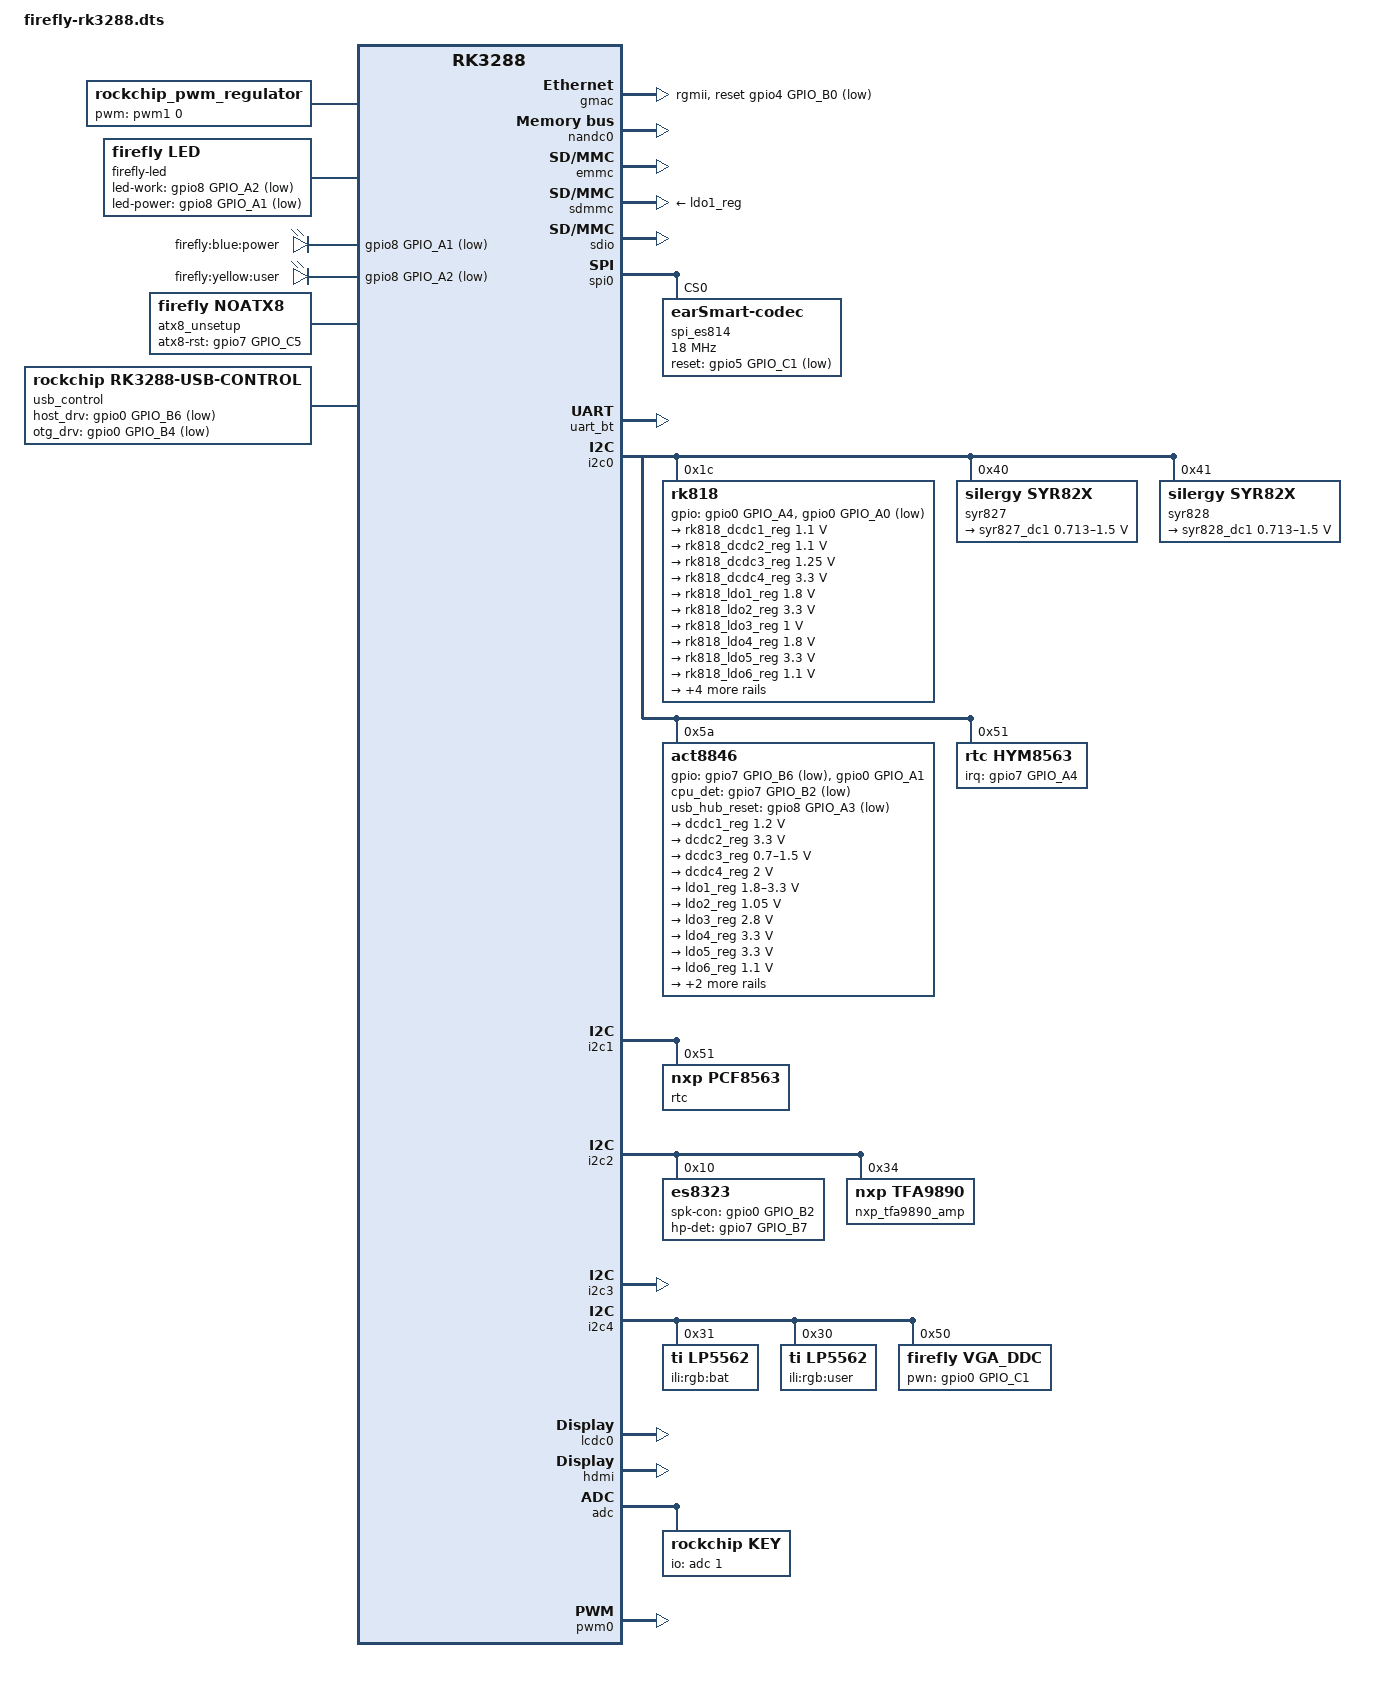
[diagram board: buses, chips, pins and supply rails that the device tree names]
/dts-v1/;

#include "rk3288.dtsi"
#include "lcd-box.dtsi"

/ {
	fiq-debugger {
		status = "okay";
	};

	hsic-usb-hub{
		compatible = "hub_reset";
		reset,pin =<&gpio7 GPIO_A6 GPIO_ACTIVE_HIGH>;	// hub reset pin
		status = "disabled";
	};
#if 0
/*fxn: remove*/

	wireless-wlan {
		compatible = "wlan-platdata";

		/* wifi_chip_type - wifi chip define
		* bcmwifi ==> like ap6xxx, rk90x;
		* rtkwifi ==> like rtl8188xx, rtl8723xx,rtl8812auv;
		* esp8089 ==> esp8089;
		* other   ==> for other wifi;
		*/
		wifi_chip_type = "bcmwifi";
		sdio_vref = <1800>; //1800mv or 3300mv

		//keep_wifi_power_on;
		//power_ctrl_by_pmu;
		power_pmu_regulator = "act_ldo3";
		power_pmu_enable_level = <1>; //1->HIGH, 0->LOW

		//vref_ctrl_enable;
		//vref_ctrl_gpio = <&gpio0 GPIO_A2 GPIO_ACTIVE_HIGH>;
		vref_pmu_regulator = "act_ldo3";
		vref_pmu_enable_level = <1>; //1->HIGH, 0->LOW

		WIFI,poweren_gpio = <&gpio4 GPIO_D4 GPIO_ACTIVE_HIGH>;
		WIFI,host_wake_irq = <&gpio4 GPIO_D6 GPIO_ACTIVE_HIGH>;
		//WIFI,reset_gpio = <&gpio0 GPIO_A2 GPIO_ACTIVE_LOW>;

		status = "okay";
    	};

    	wireless-bluetooth {
		compatible = "bluetooth-platdata";

		//wifi-bt-power-toggle;

		uart_rts_gpios = <&gpio4 GPIO_C3 GPIO_ACTIVE_LOW>;
		pinctrl-names = "default","rts_gpio";
		pinctrl-0 = <&uart0_rts>;
		pinctrl-1 = <&uart0_rts_gpio>;

		BT,power_gpio = <&gpio4 GPIO_D3 GPIO_ACTIVE_HIGH>;
		BT,reset_gpio = <&gpio4 GPIO_D5 GPIO_ACTIVE_HIGH>;
		BT,wake_gpio = <&gpio4 GPIO_D2 GPIO_ACTIVE_HIGH>;
		BT,wake_host_irq = <&gpio4 GPIO_D7 GPIO_ACTIVE_LOW>;

		status = "okay";
    	};
#endif
	pwm_regulator {
		compatible = "rockchip_pwm_regulator";
		pwms = <&pwm1 0 2000>;
		rockchip,pwm_id= <1>;
		rockchip,pwm_voltage_map= <925000 950000 975000 1000000 1025000 1050000 1075000 1100000 1125000 1150000 1175000 1200000 1225000 1250000 1275000 1300000 1325000 1350000 1375000 1400000>;
		rockchip,pwm_voltage= <1100000>;
		rockchip,pwm_min_voltage= <925000>;
		rockchip,pwm_max_voltage= <1400000>;
		rockchip,pwm_suspend_voltage= <950000>;
		rockchip,pwm_coefficient= <475>;
		regulators {
			#address-cells = <1>;
			#size-cells = <0>;
			pwm_reg0: regulator@0 {
				regulator-compatible = "pwm_dcdc1";
				regulator-name= "vdd_logic";
				regulator-min-microvolt = <925000>;
				regulator-max-microvolt = <1400000>;
				regulator-always-on;
				regulator-boot-on;
			};
		};
	};

/*fxn, to be fixed, add two i2s controllers and link to tfa9890 and es814 codec*/
	nxp-tfa9890-i2s {
		compatible = "nxp-tfa9890-i2s";
		dais {
			dai0 {
				audio-codec = <&nxp_tfa9890_amp>;
				i2s-controller = <&i2s>;
				format = "i2s";
			};
		};
	};

	knowles-es814-i2s {
		compatible = "knowles-es814-i2s";
		dais {
			dai0 {
				audio-codec = <&spi_es814>;
				i2s-controller = <&i2s>;
				format = "i2s";
			};
		};
	};

#if 0
/*fxn, remove*/
	codec_hdmi_i2s: codec-hdmi-i2s {
		compatible = "hdmi-i2s";
	};

	codec_hdmi_spdif: codec-hdmi-spdif {
		compatible = "hdmi-spdif";
	};


	rockchip-hdmi-i2s {
		compatible = "rockchip-hdmi-i2s";
		dais {
			dai0 {
				audio-codec = <&codec_hdmi_i2s>;
				i2s-controller = <&i2s>;
				format = "i2s";
				//continuous-clock;
				//bitclock-inversion;
				//frame-inversion;
				//bitclock-master;
				//frame-master;
			};
		};
	};

	rockchip-hdmi-spdif {
		compatible = "rockchip-hdmi-spdif";
		dais {
			dai0 {
				audio-codec = <&codec_hdmi_spdif>;
				i2s-controller = <&spdif>;
			};
		};
	};
#endif

#if 0
/*fxn, remove*/
	rockchip-rk1000 {
		compatible = "rockchip-rk1000";
		dais {
			dai0 {
				audio-codec = <&rk1000_codec>;
				i2s-controller = <&i2s>;
				format = "i2s";
				//continuous-clock;
				//bitclock-inversion;
				//frame-inversion;
				//bitclock-master;
				//frame-master;
			};
		};
	};
#endif
	rockchip-es8323 {
		compatible = "rockchip-es8323";
		dais {
			dai0 {
				audio-codec = <&es8323>;
				i2s-controller = <&i2s>;
				format = "i2s";
				//continuous-clock;
				//bitclock-inversion;
				//frame-inversion;
				//bitclock-master;
				//frame-master;
			};
		};
	};

#if 0
/*fxn, remove*/
	rkxx-remotectl{
		compatible = "rockchip,remotectl";
                module-gpios = <&gpio7 GPIO_A0 GPIO_ACTIVE_LOW>;
        	led-power = <&gpio8 GPIO_A1 GPIO_ACTIVE_LOW>;
		status = "disabled";
	};
#endif
	
	firefly-led{
		compatible = "firefly,led";
		led-work = <&gpio8 GPIO_A2 GPIO_ACTIVE_LOW>;
		led-power = <&gpio8 GPIO_A1 GPIO_ACTIVE_LOW>;
		status = "okay";
	};

 	leds {
       		compatible = "gpio-leds";
       		power {
           		label = "firefly:blue:power";
           		linux,default-trigger = "ir-power-click";
           		default-state = "on";
           		gpios = <&gpio8 GPIO_A1 GPIO_ACTIVE_LOW>;
       		};  
        	user {
           		label = "firefly:yellow:user";
           		linux,default-trigger = "ir-user-click";
			default-state = "off";
           		gpios = <&gpio8 GPIO_A2 GPIO_ACTIVE_LOW>;
       		};  
   	}; 
	atx8_unsetup{
		compatible = "firefly,noatx8";
		atx8-rst = <&gpio7 GPIO_C5 GPIO_ACTIVE_HIGH>;
		status = "okay";
	};
	usb_control {
		compatible = "rockchip,rk3288-usb-control";

		host_drv_gpio = <&gpio0 GPIO_B6 GPIO_ACTIVE_LOW>;
		otg_drv_gpio = <&gpio0 GPIO_B4 GPIO_ACTIVE_LOW>;

		rockchip,remote_wakeup;
		rockchip,usb_irq_wakeup;
	};
};

&gmac {
//	pmu_regulator = "act_ldo5";
//	pmu_enable_level = <1>; //1->HIGH, 0->LOW
//	power-gpio = <&gpio0 GPIO_A6 GPIO_ACTIVE_HIGH>;
	reset-gpio = <&gpio4 GPIO_B0 GPIO_ACTIVE_LOW>;
	phy-mode = "rgmii";
	clock_in_out = "input";
	tx_delay = <0x30>;
	rx_delay = <0x20>;
};

&pinctrl {
	//used for init some gpio
/*fxn, modified{*/
//	init-gpios = <&gpio8 GPIO_A0 GPIO_ACTIVE_HIGH
//		&gpio7 GPIO_B1 GPIO_ACTIVE_HIGH		
//		&gpio4 GPIO_B0 GPIO_ACTIVE_HIGH>;
	/*
		gpio6-a6 : RK_I2S_EN, gpio6-a7 : RK_I2S_SW
	*/
	init-gpios = <&gpio6 GPIO_A6 GPIO_ACTIVE_HIGH &gpio6 GPIO_A7 GPIO_ACTIVE_HIGH>;
/*fxn, end}*/
	gpio0_gpio {
			gpio0_c2: gpio0-c2 {
				rockchip,pins = <GPIO0_C2>;
				rockchip,pull = <VALUE_PULL_DOWN>;
			};

			//to add
		};
		
	gpio7_gpio {
			gpio7_b7: gpio7-b7 {
				rockchip,pins = <GPIO7_B7>;
				rockchip,pull = <VALUE_PULL_UP>;
			};

			//to add
		};
	//could add other pinctrl definition such as gpio

	// gmac drive strength
	gpio4_gmac {
		mac_clk: mac-clk {
			rockchip,drive = <VALUE_DRV_12MA>;
		};

		mac_txpins: mac-txpins {
			rockchip,drive = <VALUE_DRV_12MA>;
		};

		mac_rxpins: mac-rxpins {
			rockchip,drive = <VALUE_DRV_12MA>;
		};

		mac_crs: mac-crs {
			rockchip,drive = <VALUE_DRV_12MA>;
		};

		mac_mdpins: mac-mdpins {
			rockchip,drive = <VALUE_DRV_12MA>;
		};
	};
};
&nandc0 {
	status = "okay"; // used nand set "okay" ,used emmc set "disabled"
};
&nandc1 {
	status = "disabled"; // used nand set "okay" ,used emmc set "disabled"
};   

&nandc0reg {
	status = "disabled"; // used nand set "okay" ,used emmc set "disabled"
};
&emmc {
	clock-frequency = <100000000>;
	clock-freq-min-max = <400000 100000000>;

        supports-highspeed;
	supports-emmc;
        bootpart-no-access;

	//supports-tSD;//only tsd-sdcard mode 
	supports-DDR_MODE;
	caps2-mmc-hs200;

        ignore-pm-notify;
	keep-power-in-suspend;
	//poll-hw-reset 
	status = "okay";
};
    
&sdmmc {
		clock-frequency = <50000000>;
		lock-freq-min-max = <400000 50000000>;
		supports-highspeed;
		supports-sd;
		broken-cd;
		card-detect-delay = <200>;

		ignore-pm-notify;
        	keep-power-in-suspend;
	
        	vmmc-supply = <&ldo1_reg>;
		status = "okay";
};
		
&sdio {
		clock-frequency = <50000000>;
		clock-freq-min-max = <200000 50000000>;
		supports-highspeed;
		supports-sdio;
		ignore-pm-notify;
		keep-power-in-suspend;
		//cap-sdio-irq;
		status = "okay";
};

&spi0 {
	status = "okay";
	max-freq = <48000000>;	

/*fxn, add for Knowles ES814 codec*/
	spi_es814: spi_es814@00 {
		compatible = "earSmart-codec";
		reg = <0>;
		spi-max-frequency = <18000000>;
		adnc,reset-gpio = <&gpio5 GPIO_C1 GPIO_ACTIVE_LOW>;
		adnc,spi-fw-download-speed = <12000000>;
		adnc,spi-operational-speed = <4000000>;
	};

	/*
	spi_test@00 {
     		compatible = "rockchip,spi_test_bus0_cs0";
                reg = <0>;
                spi-max-frequency = <24000000>;
                //spi-cpha;
		//spi-cpol;
                poll_mode = <0>;
	        type = <0>;
		enable_dma = <0>;

	};

	spi_test@01 {
	        compatible = "rockchip,spi_test_bus0_cs1";
	        reg = <1>;
	        spi-max-frequency = <24000000>;
	        spi-cpha;
		spi-cpol;
	        poll_mode = <0>;
	        type = <0>;
		enable_dma = <0>;	        
	};
	*/
};

&spi1 {
	status = "disabled";
	max-freq = <48000000>;
	/*
	spi_test@10 {
	        compatible = "rockchip,spi_test_bus1_cs0";
	        reg = <0>;
	        spi-max-frequency = <24000000>;
	        //spi-cpha;
		//spi-cpol;
	        poll_mode = <0>;
	        type = <0>;
		enable_dma = <0>;
	};

	*/
	//dtv: connect to dtv demodulator for control signal
	tstv-ctrl@00 {
		compatible = "rockchip,dtv_spi_ctrl";
		gpio-powerup = <&gpio0 GPIO_D7 GPIO_ACTIVE_HIGH>;
		gpio-powerdown = <&gpio2 GPIO_B6 GPIO_ACTIVE_HIGH>;
		gpio-reset = <&gpio2 GPIO_B7 GPIO_ACTIVE_HIGH>;
	        gpio-nreset = <&gpio2 GPIO_B4 GPIO_ACTIVE_HIGH>;
		spi-max-frequency = <12000000>;
		reg = <0>;
                poll_mode = <0>;
	        type = <0>;
		enable_dma = <0>;
	};

};

&spi2 {
	status = "disabled";
	max-freq = <48000000>;
	/*
	spi_test@20 {
	        compatible = "rockchip,spi_test_bus2_cs0";
	        reg = <0>;
	        spi-max-frequency = <24000000>;
	        //spi-cpha;
		//spi-cpol;
	        poll_mode = <0>;
	        type = <0>;
		enable_dma = <0>;
	};

	spi_test@21 {
	        compatible = "rockchip,spi_test_bus2_cs1";
	        reg = <1>;
	        spi-max-frequency = <24000000>;
	        //spi-cpha;
		//spi-cpol;
	        poll_mode = <0>;
	        type = <0>;
		enable_dma = <0>;
	};
	*/
};

&hsadc {
	status = "disabled";
};

&uart_bt {
        status = "okay";
        dma-names = "!tx", "!rx";
        pinctrl-0 = <&uart0_xfer &uart0_cts>;
};

&uart_dbg {
	status = "disabled";
};


&i2c0 {
	status = "okay";
/*fxn, change to rk818*/
#if 0
	rk808: rk808@1b {
		reg = <0x1b>;
		status = "okay";
	};
#endif
	rk818: rk818@1c {
		reg = <0x1c>;
		status = "okay";
 	};

		syr827: syr827@40 {
		compatible = "silergy,syr82x";
  	reg = <0x40>;
		status = "okay";
		regulators {
			#address-cells = <1>;
			#size-cells = <0>;	
			syr827_dc1: regulator@0 {
			reg = <0>;
			regulator-compatible = "syr82x_dcdc1";
			regulator-name = "vdd_arm";
			regulator-min-microvolt = <712500>;
			regulator-max-microvolt = <1500000>;
			regulator-always-on;
			regulator-boot-on;
			regulator-initial-mode = <0x2>;
			regulator-initial-state = <3>;
			regulator-state-mem {
				regulator-state-mode = <0x2>;
				regulator-state-enabled;
				regulator-state-uv = <900000>;
			};
		};
	   };
	};
	syr828: syr828@41 {
		compatible = "silergy,syr82x";
		reg = <0x41>;
		status = "okay";
		regulators {
			#address-cells = <1>;
			#size-cells = <0>;	
			syr828_dc1: regulator@0 {
			reg = <0>;
			regulator-compatible = "syr82x_dcdc1";
			regulator-name = "vdd_gpu";
			regulator-min-microvolt = <712500>;
			regulator-max-microvolt = <1500000>;
			regulator-always-on;
  		regulator-boot-on;
			regulator-initial-mode = <0x2>;
			regulator-initial-state = <3>;
			regulator-state-mem {
				regulator-state-mode = <0x2>;
				regulator-state-disabled;
				regulator-state-uv = <900000>;
			};	
		};
	   };
	};
	act8846: act8846@5a {
		reg = <0x5a>;
		status = "okay";
	};
	
	rtc@51 {
		compatible = "rtc,hym8563";
		reg = <0x51>;
		irq_gpio = <&gpio7 GPIO_A4 IRQ_TYPE_EDGE_FALLING>;
	};
};

&i2c1 {
	status = "okay";
	rtc@51 {
		compatible = "nxp,pcf8563";
		reg = <0x51>;
	};
};

&i2c2 {
	status = "okay";
	es8323: es8323@10 {
	    compatible = "es8323";
		reg = <0x10>;
		spk-con-gpio = <&gpio0 GPIO_B2 GPIO_ACTIVE_HIGH>;
		hp-det-gpio = <&gpio7 GPIO_B7 GPIO_ACTIVE_HIGH>;
		hp-mic-only = <1>;
		clocks = <&clk_i2s>, <&clk_i2s_out>;
		clock-names = "i2s_clk","i2s_mclk";
		pinctrl-names = "default";
		pinctrl-0 = <&i2s_mclk>;
	};
/*fxn, add, TI tfa9890*/
	nxp_tfa9890_amp: nxp_tfa9890_amp@34 {
		compatible = "nxp,tfa9890";
		reg = <0x34>;
	};
};

&i2c3 {
	status = "okay";
};

&i2c4 {
	status = "okay";

/*fxn, add, lp5562 led*/
	bat_led@31 {
		compatible = "ti,lp5562";
		reg = <0x31>;
		label = "ili:rgb:bat";
		clock-mode = /bits/8 <2>;
		chan0 {
			chan-name = "R";
			led-cur = /bits/ 8 <0x20>;
			max-cur = /bits/ 8 <0x60>;
			linux,default-trigger = "BATTERY-charging";
		};

		chan1 {
			chan-name = "G";
			led-cur = /bits/ 8 <0x20>;
			max-cur = /bits/ 8 <0x60>;
			linux,default-trigger = "BATTERY-full";
		};
#if 0
		chan2 {
			chan-name = "B";
			led-cur = /bits/ 8 <0x20>;
			max-cur = /bits/ 8 <0x60>;
		};

		chan3 {
			chan-name = "W";
			led-cur = /bits/ 8 <0x20>;
			max-cur = /bits/ 8 <0x60>;
		};
#endif
	};

	user_led@30 {
		compatible = "ti,lp5562";
		reg = <0x30>;
		label = "ili:rgb:user";
		clock-mode = /bits/8 <2>;
		chan0 {
			chan-name = "R";
			led-cur = /bits/ 8 <0x20>;
			max-cur = /bits/ 8 <0x60>;
		};

		chan1 {
			chan-name = "G";
			led-cur = /bits/ 8 <0x20>;
			max-cur = /bits/ 8 <0x60>;
		};

		chan2 {
			chan-name = "B";
			led-cur = /bits/ 8 <0x20>;
			max-cur = /bits/ 8 <0x60>;
		};
#if 0
		chan3 {
			chan-name = "W";
			led-cur = /bits/ 8 <0x20>;
			max-cur = /bits/ 8 <0x60>;
		};
#endif
	};

#if 0
/*fxn, remove*/
	rk1000_control@40 {
		compatible = "rockchip,rk1000_control";
		reg = <0x40>;
		gpio-reset = <&gpio7 GPIO_C5 GPIO_ACTIVE_LOW>;
		clocks = <&clk_i2s>, <&clk_i2s_out>;
		clock-names = "i2s_clk","i2s_mclk";
		//pinctrl-names = "default";
		//pinctrl-0 = <&i2s_mclk>;
	};
	rk1000_tve@42 {
		compatible = "rockchip,rk1000_tve";
		reg = <0x42>;
//		gpio-switch = <&gpio3 GPIO_D4 GPIO_ACTIVE_LOW>;
		rockchip,source = <0>; //0: LCDC0; 1: LCDC1
		rockchip,prop = <PRMRY>;//<EXTEND>
	};
	rk1000_codec: rk1000_codec@60 {
		compatible = "rockchip,rk1000_codec";
		reg = <0x60>;
		spk_ctl_io = <&gpio7 GPIO_A5 GPIO_ACTIVE_LOW>;
		boot_depop = <1>;
		pa_enable_time = <5000>;
	};
#endif
	vga_ddc@50 {
		compatible = "firefly,vga_ddc";
		reg = <0x50>;
		gpio-pwn = <&gpio0 GPIO_C1 GPIO_ACTIVE_HIGH>;
		rockchip,source = <0>; //0: LCDC0; 1: LCDC1
		rockchip,prop = <PRMRY>;//<EXTEND>
		status = "okay";
	};
};

&i2c5 {
	status = "disabled";
};

/*$_rbox_$_modify_$_begin_huangzhibao for rk1000*/
//&i2s{
//    pinctrl-names = "default", "sleep";
//		pinctrl-0 = <&i2s_sclk &i2s_lrckrx &i2s_lrcktx &i2s_sdi &i2s_sdo0 &i2s_sdo1 &i2s_sdo2 &i2s_sdo3>;
//		pinctrl-1 = <&i2s_gpio>;
//};
/*$_rbox_$_modify_$_end*/

&fb {
	rockchip,disp-mode = <DUAL>;
};

&rk_screen {
	 display-timings = <&disp_timings>;
};

/*lcdc0 as PRMRY(HDMI),lcdc1 as EXTEND(RK1000)*/
&lcdc0 {
	status = "okay";
	rockchip,prop = <PRMRY>;
};

&lcdc1 {
	status = "disabled";
	rockchip,prop = <EXTEND>;
};

&hdmi {
	status = "okay";
	rockchips,hdmi_audio_source = <0>;
	hdmi_cec = <0>;
};

&adc {
	status = "okay";

	key {
		compatible = "rockchip,key";
		
		io-channels = <&adc 1>;

/*fxn, to be fixed*/
		main-key {
			gpios = <&gpio0 GPIO_A6 GPIO_ACTIVE_LOW>;
			linux,code = <167>;
			label = "record";
		};

		vol-up-key {
			linux,code = <115>;
			label = "volume up";
			rockchip,adc_value = <1>;
		};

		vol-down-key {
			linux,code = <114>;
			label = "volume down";
			rockchip,adc_value = <170>;
		};

#if 0
		power-key {
			gpios = <&gpio0 GPIO_A5 GPIO_ACTIVE_LOW>;
			linux,code = <116>;
			label = "power";
			gpio-key,wakeup;
		};
		recovery-key {
			linux,code = <113>;
			label = "recovery";
			rockchip,adc_value = <4>;
		};
#endif
	};
};

&pwm0 {
        interrupts = <GIC_SPI 78 IRQ_TYPE_LEVEL_HIGH>;
        status = "okay";
};

&pwm1 {
	status = "disabled";
};


&clk_core_dvfs_table {
	support-pvtm = <0>;
	pvtm-operating-points = <
		/* KHz    uV 	pvtm margin*/
		126000 900000	25000
		216000 900000	25000
		312000 900000	25000
		408000 900000	25000
		600000 950000	50000
		696000 950000	25000
		816000 1000000	25000
		1008000 1050000	25000
		1200000 1100000	25000
		1416000 1200000	25000
		1512000 1300000	25000
		1608000 1350000	25000
		1704000 1350000	25000
		1800000 1350000	25000
		>;
	status="okay";
};

&clk_gpu_dvfs_table {
	operating-points = <
		/* KHz    uV */
//		100000 900000
		200000 900000
		300000 950000
		420000 1100000
		500000 1150000
	//	600000 1250000
		>;
	status="okay";
};

&clk_ddr_dvfs_table {
	operating-points = <
		/* KHz    uV */
		200000 1075000
		300000 1075000		
		456000 1125000
		533000 1150000
		>;

	freq-table = <
		/*status		freq(KHz)*/
		SYS_STATUS_NORMAL	456000
		SYS_STATUS_SUSPEND	200000
		//SYS_STATUS_VIDEO_1080P  240000
		SYS_STATUS_VIDEO_4K     456000
		SYS_STATUS_PERFORMANCE  533000
		//SYS_STATUS_BOOST	324000
		//SYS_STATUS_ISP		400000
		>;
	auto-freq-table = <
		240000
		324000
		456000
		528000
		>;
	auto-freq=<0>;
	status="okay";
};
/include/ "act8846.dtsi"
&act8846 {
	gpios =<&gpio7 GPIO_B6 GPIO_ACTIVE_LOW>,<&gpio0 GPIO_A1 GPIO_ACTIVE_HIGH>;
	cpu_det_gpio =<&gpio7 GPIO_B2 GPIO_ACTIVE_LOW>;
	usb_hub_reset_gpio =<&gpio8 GPIO_A3 GPIO_ACTIVE_LOW>;
	act8846,system-power-controller;

	regulators {
		
		dcdc1_reg: regulator@0{
			regulator-name= "act_dcdc1";
			regulator-min-microvolt = <1200000>;
			regulator-max-microvolt = <1200000>;
			regulator-always-on;
			regulator-boot-on;
		};

		dcdc2_reg: regulator@1 {
			regulator-name= "vccio";
			regulator-min-microvolt = <3300000>;
			regulator-max-microvolt = <3300000>;
			regulator-initial-state = <3>;
			regulator-state-mem {
				regulator-state-enabled;
				regulator-state-uv = <3300000>;
			};		
		};

		dcdc3_reg: regulator@2 {
			regulator-name= "vdd_logic";
			regulator-min-microvolt = <700000>;
			regulator-max-microvolt = <1500000>;
			regulator-initial-state = <3>;
			regulator-state-mem {
				regulator-state-enabled;
				regulator-state-uv = <1200000>;
			};		
		
		};

		dcdc4_reg: regulator@3 {
			regulator-name= "act_dcdc4";
			regulator-min-microvolt = <2000000>;
			regulator-max-microvolt = <2000000>;
				regulator-initial-state = <3>;
			regulator-state-mem {
				regulator-state-enabled;
				regulator-state-uv = <2000000>;
			};
		};

		ldo1_reg: regulator@4 {
			regulator-name= "vccio_sd";
			regulator-min-microvolt = <1800000>;
			regulator-max-microvolt = <3300000>;
			
		};

		ldo2_reg: regulator@5 {
			regulator-name= "act_ldo2";
			regulator-min-microvolt = <1050000>;
			regulator-max-microvolt = <1050000>;
		
		};

		ldo3_reg: regulator@6 {
			regulator-name= "act_ldo3";
			regulator-min-microvolt = <2800000>;
			regulator-max-microvolt = <2800000>;
			
		};

		ldo4_reg:regulator@7 {
			regulator-name= "act_ldo4";
			regulator-min-microvolt = <3300000>;
			regulator-max-microvolt = <3300000>;
		
		};

		ldo5_reg: regulator@8 {
			regulator-name= "act_ldo5";
			regulator-min-microvolt = <3300000>;
			regulator-max-microvolt = <3300000>;
		
		};

		ldo6_reg: regulator@9 {
			regulator-name= "act_ldo6";
			regulator-min-microvolt = <1100000>;
			regulator-max-microvolt = <1100000>;
			regulator-initial-state = <3>;
			regulator-state-mem {
				regulator-state-enabled;
			};
			
		};

		ldo7_reg: regulator@10 {
			regulator-name= "vcc_18";
			regulator-min-microvolt = <1800000>;
			regulator-max-microvolt = <1800000>;
			regulator-initial-state = <3>;
			regulator-state-mem {
				regulator-state-enabled;
			};
		
		};

		ldo8_reg: regulator@11 {
			regulator-name= "act_ldo8";
			regulator-min-microvolt = <1850000>;
			regulator-max-microvolt = <1850000>;
		
		};
	};
};

#if 0
/include/ "rk808.dtsi"
&rk808 {
	gpios =<&gpio0 GPIO_A4 GPIO_ACTIVE_HIGH>,<&gpio0 GPIO_B3 GPIO_ACTIVE_LOW>;
	rk808,system-power-controller;

	regulators {
		
		rk808_dcdc1_reg: regulator@0{
			regulator-name= "vdd_arm";
			regulator-always-on;
			regulator-boot-on;
		};

		rk808_dcdc2_reg: regulator@1 {
			regulator-name= "vdd_gpu";
			regulator-always-on;
			regulator-boot-on;
		};

		rk808_dcdc3_reg: regulator@2 {
			regulator-name= "rk_dcdc3";
			regulator-min-microvolt = <1200000>;
			regulator-max-microvolt = <1200000>;
			regulator-always-on;
			regulator-boot-on;
		};

		rk808_dcdc4_reg: regulator@3 {
			regulator-name= "vccio";
			regulator-min-microvolt = <1800000>;
			regulator-max-microvolt = <3300000>;
			regulator-always-on;
			regulator-boot-on;
		};

    /* NO USED, 3.3V*/
		rk808_ldo1_reg: regulator@4 {
			regulator-name= "rk_ldo1";
			regulator-min-microvolt = <3300000>;
			regulator-max-microvolt = <3300000>;
			regulator-always-on;
			regulator-boot-on;
		};

    /* BOX:RK1000s, 3.3V  */
		rk808_ldo2_reg: regulator@5 {
			regulator-name= "rk_ldo2";
			regulator-min-microvolt = <3300000>;
			regulator-max-microvolt = <3300000>;
			regulator-always-on;
			regulator-boot-on;
		};

    /* RK3288 PLL,USB PHY, 1.0V */
		rk808_ldo3_reg: regulator@6 {
			regulator-name= "rk_ldo3";
			regulator-min-microvolt = <1000000>;
			regulator-max-microvolt = <1000000>;
			regulator-always-on;
			regulator-boot-on;
		};

    /* BOX:RK1000S CORE, 1.8V  */
		rk808_ldo4_reg:regulator@7 {
			regulator-name= "rk_ldo4";
			regulator-min-microvolt = <1800000>;
			regulator-max-microvolt = <1800000>;
			regulator-always-on;
			regulator-boot-on;
		};
    
    /* SDMMC IO, 3.3V*/
		rk808_ldo5_reg: regulator@8 {
			regulator-name= "rk_ldo5";
			regulator-min-microvolt = <3300000>;
			regulator-max-microvolt = <3300000>;
			regulator-always-on;
			regulator-boot-on;
		};
    
    /* CAMERA, 1.8V  box modify*/
		rk808_ldo6_reg: regulator@9 {
			regulator-name= "rk_ldo6";
			regulator-min-microvolt = <1800000>;
			regulator-max-microvolt = <1800000>;
			regulator-always-on;
			regulator-boot-on;
		};

    /* RK3288 USB PHY, SAR-ADC, WIFI IO, 1.8V */
		rk808_ldo7_reg: regulator@10 {
			regulator-name= "rk_ldo7";
			regulator-min-microvolt = <1800000>;
			regulator-max-microvolt = <1800000>;
			regulator-always-on;
			regulator-boot-on;
		};

    /* DTV, 3.3V  box modify*/
		rk808_ldo8_reg: regulator@11 {
			regulator-name= "rk_ldo8";
			regulator-min-microvolt = <3300000>;
			regulator-max-microvolt = <3300000>;
			regulator-always-on;
			regulator-boot-on;
		};

		rk808_ldo9_reg: regulator@12 {
			regulator-name= "rk_ldo9";
			regulator-always-on;
			regulator-boot-on;
		};

		rk808_ldo10_reg: regulator@13 {
			regulator-name= "rk_ldo10";
			regulator-always-on;
			regulator-boot-on;
		};
	};
};
#endif

/*fxn, to be fixed*/
/include/ "rk818.dtsi"
&rk818 {
	gpios =<&gpio0 GPIO_A4 GPIO_ACTIVE_HIGH>,<&gpio0 GPIO_A0 GPIO_ACTIVE_LOW>;
	rk818,system-power-controller;

	regulators {
		
		rk818_dcdc1_reg: regulator@0{
			regulator-name= "vdd_logic";
			regulator-min-microvolt = <1100000>;
			regulator-max-microvolt = <1100000>;
			regulator-initial-mode = <0x2>;
			regulator-initial-state = <3>;
			regulator-state-mem {
				regulator-state-mode = <0x2>;
				regulator-state-enabled;
				regulator-state-uv = <900000>;
			};		
		};

		rk818_dcdc2_reg: regulator@1 {
			regulator-name= "rk818_dcdc2";
			regulator-min-microvolt = <1100000>;
			regulator-max-microvolt = <1100000>;	
			regulator-initial-mode = <0x2>;
			regulator-initial-state = <3>;
			regulator-state-mem {
				regulator-state-mode = <0x2>;
				regulator-state-enabled;
				regulator-state-uv = <1200000>;
			};	
		};

		rk818_dcdc3_reg: regulator@2 {
			regulator-name= "rk818_dcdc3";
			regulator-min-microvolt = <1250000>;
			regulator-max-microvolt = <1250000>;
				regulator-initial-mode = <0x2>;
			regulator-initial-state = <3>;
			regulator-state-mem {
				regulator-state-mode = <0x2>;
				regulator-state-enabled;
				regulator-state-uv = <1200000>;
			};	
		};

		rk818_dcdc4_reg: regulator@3 {
			regulator-name= "vccio";
			regulator-min-microvolt = <3300000>;
			regulator-max-microvolt = <3300000>;
			regulator-initial-mode = <0x2>;
			regulator-initial-state = <3>;
			regulator-state-mem {
				regulator-state-mode = <0x2>;
				regulator-state-enabled;
				regulator-state-uv = <2800000>;
			};	
		};

		rk818_ldo1_reg: regulator@4 {
			regulator-name= "rk818_ldo1";
			regulator-min-microvolt = <1800000>;
			regulator-max-microvolt = <1800000>;
			regulator-initial-state = <3>;
			regulator-state-mem {
				regulator-state-enabled;
				regulator-state-uv = <3300000>;
			};	
		};

		rk818_ldo2_reg: regulator@5 {
			regulator-name= "rk818_ldo2";
			regulator-min-microvolt = <3300000>;
			regulator-max-microvolt = <3300000>;
			regulator-initial-state = <3>;
			regulator-state-mem {
				regulator-state-enabled;
				regulator-state-uv = <3300000>;
			};	
		};

		rk818_ldo3_reg: regulator@6 {
			regulator-name= "rk818_ldo3";
			regulator-min-microvolt = <1000000>;
			regulator-max-microvolt = <1000000>;
			regulator-initial-state = <3>;
			regulator-state-mem {
				regulator-state-enabled;
				regulator-state-uv = <1000000>;
			};	
		};

		rk818_ldo4_reg:regulator@7 {
			regulator-name= "rk818_ldo4";
			regulator-min-microvolt = <1800000>;
			regulator-max-microvolt = <1800000>;
			regulator-initial-state = <3>;
			regulator-state-mem {
				regulator-state-disabled;
				regulator-state-uv = <1800000>;
			};
		};

		rk818_ldo5_reg: regulator@8 {
			regulator-name= "rk818_ldo5";
			regulator-min-microvolt = <3300000>;
			regulator-max-microvolt = <3300000>;
			regulator-initial-state = <3>;
			regulator-state-mem {
				regulator-state-enabled;
				regulator-state-uv = <3300000>;
			};
		};

		rk818_ldo6_reg: regulator@9 {
			regulator-name= "rk818_ldo6";
			regulator-min-microvolt = <1100000>;
			regulator-max-microvolt = <1100000>;
			regulator-initial-state = <3>;
			regulator-state-mem {
				regulator-state-disabled;
				regulator-state-uv = <1000000>;
			};	
		};

		rk818_ldo7_reg: regulator@10 {
			regulator-name= "rk818_ldo7";
			regulator-min-microvolt = <1800000>;
			regulator-max-microvolt = <1800000>;
			regulator-initial-state = <3>;
			regulator-state-mem {
				regulator-state-enabled;
				regulator-state-uv = <1800000>;
			};	
		};

		rk818_ldo8_reg: regulator@11 {
			regulator-name= "rk818_ldo8";
			regulator-min-microvolt = <1800000>;
			regulator-max-microvolt = <1800000>;
			regulator-initial-state = <3>;
			regulator-state-mem {
				regulator-state-enabled;
				regulator-state-uv = <1800000>;
			};	
		};
		rk818_ldo9_reg: regulator@12 {
			regulator-name= "vcc_sd";
			regulator-min-microvolt = <1800000>;
  			regulator-max-microvolt = <3300000>;
			regulator-initial-state = <3>;
			regulator-state-mem {
				regulator-state-enabled;
				regulator-state-uv = <3300000>;
			};
		};
		rk818_ldo10_reg: regulator@13 {
			regulator-name= "rk818_ldo10";
			regulator-state-mem {
				regulator-state-disabled;
			};
		};
	};
       battery {
		ocv_table = <3350 3677 3693 3719 3752 3770 3775 3778 3785 3796 3812 3839 3881 3907 3933 3958 3978 4033 4087 4123 4174>;
		design_capacity = <2100>;
		design_qmax = <2200>;
		max_overcharge = <100>;
/*fxn, modified according to rk818_battery.c{*/
		max_charge_currentmA = <1500>;
		max_charge_voltagemV = <4260>;
/*fxn, end}*/
		max_bat_voltagemv = <4200>;
        };
};

&lcdc_vdd_domain {
	regulator-name = "vcc30_lcd";
	};
&dpio_vdd_domain{
	regulator-name = "vcc18_cif";	
	};
&flash0_vdd_domain{
	regulator-name = "vcc_flash";	
	};
&flash1_vdd_domain{
	regulator-name = "vcc_flash";			
	};
&apio3_vdd_domain{
	regulator-name = "vccio_wl";		
	};
&apio5_vdd_domain{
	regulator-name = "vccio";		
	};
&apio4_vdd_domain{
	regulator-name = "vccio";		
	};
&apio1_vdd_domain{
	regulator-name = "vccio";			
	};
&apio2_vdd_domain{
	regulator-name = "vccio";		
	};
&sdmmc0_vdd_domain{
	regulator-name = "vcc_sd";			
	};
	
